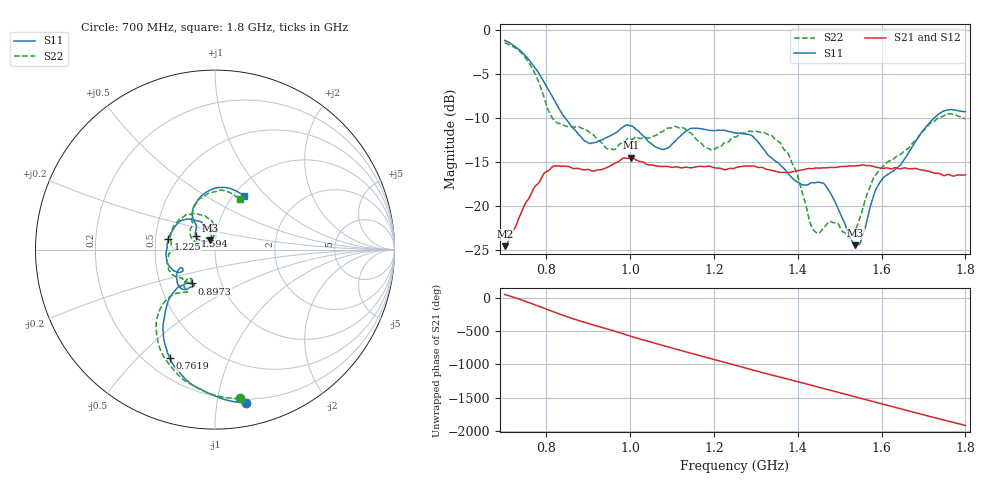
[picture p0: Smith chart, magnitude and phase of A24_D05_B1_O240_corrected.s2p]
! Created with skrf 1.9.0 (http://scikit-rf.org).
# Hz S RI R 50.0
!freq ReS11 ImS11 ReS21 ImS21 ReS12 ImS12 ReS22 ImS22
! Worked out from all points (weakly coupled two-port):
!   1601 points, 700 MHz to 1.8 GHz, reference 50 ohm
!   highest |S21| = -14.54 dB at 1.002 GHz (marker M1); lowest = -24.6 dB at 700.7 MHz (marker M2)
!   lowest |S11| = -24.5 dB at 1.537 GHz (marker M3), VSWR 1.13, Z = 47.1 + j5 ohm
!   |S11| at or under -10 dB: 843.8 MHz to 1.726 GHz (882.4 MHz wide, 68.7 % of centre)
!   |S22| runs from -23.8 to -1.5 dB; largest |S21 - S12| = 0.0035
!   S11 on the Smith chart (normalised r, x): 700 MHz: 0.17, -1.20; 761.9 MHz: 0.29, -0.63; 897.3 MHz: 0.72, -0.29; 1.225 GHz: 0.58, +0.07; 1.594 GHz: 0.80, +0.13; 1.8 GHz: 1.12, +0.76
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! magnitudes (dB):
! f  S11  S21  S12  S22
! 700 MHz  -1.2  -24.6  -24.4  -1.5
! 700.7 MHz  -1.2  -24.6  -24.3  -1.5
! 761.9 MHz  -3.7  -18.8  -18.8  -4.0
! 816.9 MHz  -7.8  -15.5  -15.6  -10.2
! 883.6 MHz  -12.3  -15.9  -15.8  -11.2
! 897.3 MHz  -12.8  -15.9  -16.0  -11.5
! 948.2 MHz  -12.2  -15.6  -15.6  -13.6
! 1.002 GHz  -10.9  -14.5  -14.6  -12.5
! 1.067 GHz  -13.5  -15.5  -15.5  -11.8
! 1.145 GHz  -11.2  -15.7  -15.7  -11.8
! 1.193 GHz  -11.4  -15.6  -15.6  -13.7
! 1.225 GHz  -11.4  -15.9  -15.9  -12.9
! 1.25 GHz  -11.7  -15.7  -15.7  -12.2
! 1.357 GHz  -15.4  -16.2  -16.2  -12.8
! 1.396 GHz  -17.2  -16.1  -16.1  -16.1
! 1.434 GHz  -17.4  -15.8  -15.8  -22.5
! 1.469 GHz  -17.9  -15.7  -15.7  -22.2
! 1.537 GHz  -24.5  -15.5  -15.5  -22.8
! 1.594 GHz  -17.5  -15.7  -15.7  -16.0
! 1.617 GHz  -16.4  -15.8  -15.7  -15.0
! 1.733 GHz  -9.7  -16.3  -16.4  -10.1
! 1.8 GHz  -9.3  -16.5  -16.5  -10.1
